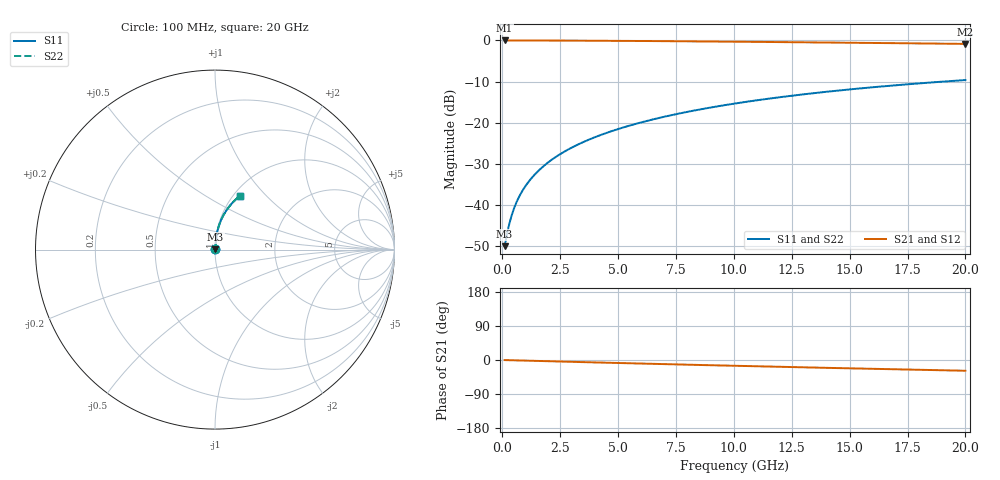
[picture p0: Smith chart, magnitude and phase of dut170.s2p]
! Touchstone file exported from HFSS 2024.1.0
!  File:  C:/UserFiles/LocalFiles/RDL_TSV_Batchsim/temp_RDL_bottom_170_1778698237.aedt
!  Generated:  02:53:09 AM May 14, 2026
!  Design:  RDL_bottom
!  Project:  temp_RDL_bottom_170_1778698237
!  Setup:  Setup1
!  Solution:  Sweep
! Variables:
!  dtsv = 10.80580581um
!  hbump = 3um
!  htsv = 66.87um
!  ldown = 336.67um
!  lrdl = 100um
!  p = 40
!  p1 = 52.57um
!  rhole = 1um
!  t = 450um
!  tdown = 2.89um
!  trdl = 3.915915916um
!  wdown = 17.04um
!  wrdl = 20um
# GHz S MA R 50.000000
! Terminal data exported
! Port[1] = RDL1_T1
! Port[2] = RDL1_T2
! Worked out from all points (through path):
!   200 points, 100 MHz to 20 GHz, reference 50 ohm
!   highest |S21| = -0.02 dB at 100 MHz (marker M1); lowest = -0.9 dB at 20 GHz (marker M2)
!   group delay of S21, straight-line fit = 3.92 ps
!   lowest |S11| = -50.0 dB at 100 MHz (marker M3), VSWR 1.01, Z = 50.3 + j0.175 ohm
!   |S11| at or under -10 dB: start of sweep to 19.08 GHz
!   |S22| runs from -50.0 to -9.6 dB; largest |S21 - S12| = 4.7e-15
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0.1  0.003156 33.5  0.9974 -0.2  0.9974 -0.2  0.003156 33.5
! Gamma 0 0 0 0
! Port Impedance 50 0 50 0
0.2  0.004385 52.2  0.9973 -0.3  0.9973 -0.3  0.004385 52.2
0.3  0.005856 61.8  0.9972 -0.5  0.9972 -0.5  0.005856 61.8
0.4  0.007405 67.4  0.9971 -0.7  0.9971 -0.7  0.007405 67.4
0.5  0.00898 70.9  0.997 -0.8  0.997 -0.8  0.00898 70.9
0.6  0.01056 73.4  0.9969 -1.0  0.9969 -1.0  0.01056 73.4
0.8  0.01375 76.7  0.9967 -1.3  0.9967 -1.3  0.01375 76.7
1.1  0.01856 79.6  0.9963 -1.8  0.9963 -1.8  0.01856 79.6
1.5  0.02504 81.6  0.9958 -2.4  0.9958 -2.4  0.02504 81.6
1.8  0.02993 82.5  0.9953 -2.9  0.9953 -2.9  0.02993 82.5
2.1  0.03486 83.1  0.9948 -3.4  0.9948 -3.4  0.03486 83.1
2.7  0.04478 83.8  0.9936 -4.3  0.9936 -4.3  0.04478 83.8
3.5  0.05814 84.0  0.9915 -5.6  0.9915 -5.6  0.05815 84.0
4.2  0.06997 83.8  0.9893 -6.7  0.9893 -6.7  0.06997 83.8
5  0.0836 83.4  0.9865 -7.9  0.9865 -7.9  0.08361 83.4
5.9  0.09907 82.8  0.983 -9.3  0.983 -9.3  0.09908 82.8
6.8  0.1146 81.9  0.9791 -10.6  0.9791 -10.6  0.1146 81.9
8.4  0.1424 80.2  0.9717 -13.0  0.9717 -13.0  0.1424 80.2
10.1  0.1718 78.1  0.9632 -15.4  0.9632 -15.4  0.1718 78.1
13.4  0.2274 73.8  0.9453 -19.9  0.9453 -19.9  0.2274 73.8
16.7  0.2803 69.4  0.9262 -24.2  0.9262 -24.2  0.2803 69.4
20  0.3296 65.1  0.906 -28.4  0.906 -28.4  0.3296 65.1
